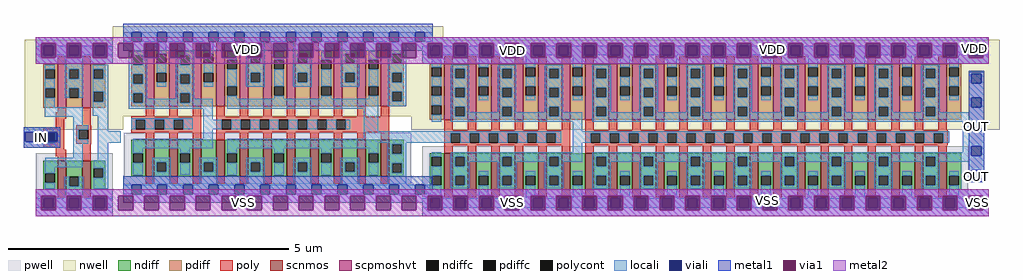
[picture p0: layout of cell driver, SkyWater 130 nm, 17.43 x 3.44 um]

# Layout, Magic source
magic
tech sky130A
magscale 1 2
<< locali >>
rect 0 300 64 319
rect 0 266 7 300
rect 41 266 64 300
rect 0 245 64 266
rect 302 263 347 303
rect 1228 263 1440 303
<< viali >>
rect 3385 476 3419 510
rect 3385 390 3419 424
rect 3385 303 3419 337
rect 7 266 41 300
rect 86 266 120 300
rect 3385 216 3419 250
rect 3385 130 3419 164
<< metal1 >>
rect 3375 510 3430 516
rect 3375 476 3385 510
rect 3419 476 3430 510
rect 3375 424 3430 476
rect 3375 390 3385 424
rect 3419 390 3430 424
rect 3375 337 3430 390
rect 0 300 132 319
rect 0 266 7 300
rect 41 266 86 300
rect 120 266 132 300
rect 0 245 132 266
rect 3375 303 3385 337
rect 3419 303 3430 337
rect 3375 250 3430 303
rect 3375 216 3385 250
rect 3419 216 3430 250
rect 3375 164 3430 216
rect 3375 130 3385 164
rect 3419 130 3430 164
rect 3375 124 3430 130
<< via1 >>
rect 63 566 115 618
rect 155 566 207 618
rect 247 566 299 618
rect 339 566 391 618
rect 431 566 483 618
rect 523 566 575 618
rect 615 566 667 618
rect 707 566 759 618
rect 799 566 851 618
rect 891 566 943 618
rect 983 566 1035 618
rect 1075 566 1127 618
rect 1167 566 1219 618
rect 1259 566 1311 618
rect 1351 566 1403 618
rect 1443 566 1495 618
rect 1535 566 1587 618
rect 1627 566 1679 618
rect 1719 566 1771 618
rect 1811 566 1863 618
rect 1903 566 1955 618
rect 1995 566 2047 618
rect 2087 566 2139 618
rect 2179 566 2231 618
rect 2271 566 2323 618
rect 2363 566 2415 618
rect 2455 566 2507 618
rect 2547 566 2599 618
rect 2639 566 2691 618
rect 2731 566 2783 618
rect 2823 566 2875 618
rect 2915 566 2967 618
rect 3007 566 3059 618
rect 3099 566 3151 618
rect 3191 566 3243 618
rect 3283 566 3335 618
rect 3375 566 3427 618
rect 63 22 115 74
rect 155 22 207 74
rect 247 22 299 74
rect 339 22 391 74
rect 431 22 483 74
rect 523 22 575 74
rect 615 22 667 74
rect 707 22 759 74
rect 799 22 851 74
rect 891 22 943 74
rect 983 22 1035 74
rect 1075 22 1127 74
rect 1167 22 1219 74
rect 1259 22 1311 74
rect 1351 22 1403 74
rect 1443 22 1495 74
rect 1535 22 1587 74
rect 1627 22 1679 74
rect 1719 22 1771 74
rect 1811 22 1863 74
rect 1903 22 1955 74
rect 1995 22 2047 74
rect 2087 22 2139 74
rect 2179 22 2231 74
rect 2271 22 2323 74
rect 2363 22 2415 74
rect 2455 22 2507 74
rect 2547 22 2599 74
rect 2639 22 2691 74
rect 2731 22 2783 74
rect 2823 22 2875 74
rect 2915 22 2967 74
rect 3007 22 3059 74
rect 3099 22 3151 74
rect 3191 22 3243 74
rect 3283 22 3335 74
rect 3375 22 3427 74
<< metal2 >>
rect 43 618 3447 640
rect 43 566 63 618
rect 115 566 155 618
rect 207 566 247 618
rect 299 566 339 618
rect 391 566 431 618
rect 483 566 523 618
rect 575 566 615 618
rect 667 566 707 618
rect 759 566 799 618
rect 851 566 891 618
rect 943 566 983 618
rect 1035 566 1075 618
rect 1127 566 1167 618
rect 1219 566 1259 618
rect 1311 566 1351 618
rect 1403 566 1443 618
rect 1495 566 1535 618
rect 1587 566 1627 618
rect 1679 566 1719 618
rect 1771 566 1811 618
rect 1863 566 1903 618
rect 1955 566 1995 618
rect 2047 566 2087 618
rect 2139 566 2179 618
rect 2231 566 2271 618
rect 2323 566 2363 618
rect 2415 566 2455 618
rect 2507 566 2547 618
rect 2599 566 2639 618
rect 2691 566 2731 618
rect 2783 566 2823 618
rect 2875 566 2915 618
rect 2967 566 3007 618
rect 3059 566 3099 618
rect 3151 566 3191 618
rect 3243 566 3283 618
rect 3335 566 3375 618
rect 3427 566 3447 618
rect 43 544 3447 566
rect 43 74 3447 96
rect 43 22 63 74
rect 115 22 155 74
rect 207 22 247 74
rect 299 22 339 74
rect 391 22 431 74
rect 483 22 523 74
rect 575 22 615 74
rect 667 22 707 74
rect 759 22 799 74
rect 851 22 891 74
rect 943 22 983 74
rect 1035 22 1075 74
rect 1127 22 1167 74
rect 1219 22 1259 74
rect 1311 22 1351 74
rect 1403 22 1443 74
rect 1495 22 1535 74
rect 1587 22 1627 74
rect 1679 22 1719 74
rect 1771 22 1811 74
rect 1863 22 1903 74
rect 1955 22 1995 74
rect 2047 22 2087 74
rect 2139 22 2179 74
rect 2231 22 2271 74
rect 2323 22 2363 74
rect 2415 22 2455 74
rect 2507 22 2547 74
rect 2599 22 2639 74
rect 2691 22 2731 74
rect 2783 22 2823 74
rect 2875 22 2915 74
rect 2967 22 3007 74
rect 3059 22 3099 74
rect 3151 22 3191 74
rect 3243 22 3283 74
rect 3335 22 3375 74
rect 3427 22 3447 74
rect 43 0 3447 22
use sky130_fd_sc_hd__buf_1  sky130_fd_sc_hd__buf_1_0
transform 1 0 43 0 1 48
box -38 -48 314 592
use sky130_fd_sc_hd__buf_8  sky130_fd_sc_hd__buf_8_0
transform 1 0 319 0 1 48
box -38 -48 1142 592
use sky130_fd_sc_hd__buf_16  sky130_fd_sc_hd__buf_16_0
transform 1 0 1423 0 1 48
box -38 -48 2062 592
<< labels >>
flabel metal1 s 0 245 132 319 0 FreeSans 224 0 0 0 IN
port 2 nsew
flabel metal1 s 3375 126 3430 515 0 FreeSans 44 0 0 0 OUT
port 3 nsew
flabel metal1 s 3402 142 3402 142 0 FreeSans 44 0 0 0 OUT
flabel metal1 s 3403 320 3403 320 0 FreeSans 44 0 0 0 OUT
flabel metal2 s 43 0 3447 96 0 FreeSans 44 0 0 0 VSS
port 5 nsew
flabel metal2 s 3408 50 3408 50 0 FreeSans 44 0 0 0 VSS
flabel metal2 s 1734 53 1734 53 0 FreeSans 44 0 0 0 VSS
flabel metal2 s 787 50 787 50 0 FreeSans 44 0 0 0 VSS
flabel metal2 s 2655 57 2655 57 0 FreeSans 44 0 0 0 VSS
flabel metal2 s 43 544 3447 640 0 FreeSans 44 0 0 0 VDD
port 6 nsew
flabel metal2 s 3395 598 3395 598 0 FreeSans 44 0 0 0 VDD
flabel metal2 s 1732 596 1732 596 0 FreeSans 44 0 0 0 VDD
flabel metal2 s 796 594 796 594 0 FreeSans 44 0 0 0 VDD
flabel metal2 s 2675 596 2675 596 0 FreeSans 44 0 0 0 VDD
<< end >>

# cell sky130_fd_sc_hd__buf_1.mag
magic
tech sky130A
magscale 1 2
<< nwell >>
rect -38 261 314 582
<< pwell >>
rect 1 21 275 177
rect 31 -17 65 21
<< scnmos >>
rect 79 47 109 151
rect 167 47 197 151
<< scpmoshvt >>
rect 79 339 109 497
rect 167 339 197 497
<< ndiff >>
rect 27 106 79 151
rect 27 72 35 106
rect 69 72 79 106
rect 27 47 79 72
rect 109 93 167 151
rect 109 59 121 93
rect 155 59 167 93
rect 109 47 167 59
rect 197 123 249 151
rect 197 89 207 123
rect 241 89 249 123
rect 197 47 249 89
<< pdiff >>
rect 27 477 79 497
rect 27 443 35 477
rect 69 443 79 477
rect 27 409 79 443
rect 27 375 35 409
rect 69 375 79 409
rect 27 339 79 375
rect 109 477 167 497
rect 109 443 121 477
rect 155 443 167 477
rect 109 409 167 443
rect 109 375 121 409
rect 155 375 167 409
rect 109 339 167 375
rect 197 477 249 497
rect 197 443 207 477
rect 241 443 249 477
rect 197 396 249 443
rect 197 362 207 396
rect 241 362 249 396
rect 197 339 249 362
<< ndiffc >>
rect 35 72 69 106
rect 121 59 155 93
rect 207 89 241 123
<< pdiffc >>
rect 35 443 69 477
rect 35 375 69 409
rect 121 443 155 477
rect 121 375 155 409
rect 207 443 241 477
rect 207 362 241 396
<< poly >>
rect 79 497 109 523
rect 167 497 197 523
rect 79 324 109 339
rect 73 300 109 324
rect 73 265 103 300
rect 167 278 197 339
rect 27 249 103 265
rect 27 215 37 249
rect 71 215 103 249
rect 27 199 103 215
rect 145 262 199 278
rect 145 228 155 262
rect 189 228 199 262
rect 145 212 199 228
rect 73 190 103 199
rect 73 166 109 190
rect 79 151 109 166
rect 167 151 197 212
rect 79 21 109 47
rect 167 21 197 47
<< polycont >>
rect 37 215 71 249
rect 155 228 189 262
<< locali >>
rect 0 527 29 561
rect 63 527 121 561
rect 155 527 213 561
rect 247 527 276 561
rect 33 477 69 493
rect 33 443 35 477
rect 33 409 69 443
rect 33 375 35 409
rect 105 477 171 527
rect 105 443 121 477
rect 155 443 171 477
rect 105 409 171 443
rect 105 375 121 409
rect 155 375 171 409
rect 205 477 259 493
rect 205 443 207 477
rect 241 443 259 477
rect 205 396 259 443
rect 33 341 69 375
rect 205 362 207 396
rect 241 362 259 396
rect 33 307 168 341
rect 205 312 259 362
rect 134 278 168 307
rect 21 249 89 271
rect 21 215 37 249
rect 71 215 89 249
rect 21 197 89 215
rect 134 262 189 278
rect 134 228 155 262
rect 134 212 189 228
rect 134 161 168 212
rect 35 127 168 161
rect 223 152 259 312
rect 35 106 69 127
rect 207 123 259 152
rect 35 51 69 72
rect 105 59 121 93
rect 155 59 171 93
rect 105 17 171 59
rect 241 89 259 123
rect 207 51 259 89
rect 0 -17 29 17
rect 63 -17 121 17
rect 155 -17 213 17
rect 247 -17 276 17
<< viali >>
rect 29 527 63 561
rect 121 527 155 561
rect 213 527 247 561
rect 29 -17 63 17
rect 121 -17 155 17
rect 213 -17 247 17
<< metal1 >>
rect 0 561 276 592
rect 0 527 29 561
rect 63 527 121 561
rect 155 527 213 561
rect 247 527 276 561
rect 0 496 276 527
rect 0 17 276 48
rect 0 -17 29 17
rect 63 -17 121 17
rect 155 -17 213 17
rect 247 -17 276 17
rect 0 -48 276 -17
<< labels >>
flabel locali s 29 527 63 561 0 FreeSans 200 0 0 0 VPWR
port 5 nsew
flabel locali s 31 -17 65 17 0 FreeSans 200 0 0 0 VGND
port 4 nsew
flabel locali s 211 85 245 119 0 FreeSans 200 0 0 0 X
port 6 nsew
flabel locali s 211 357 245 391 0 FreeSans 200 0 0 0 X
port 6 nsew
flabel locali s 211 425 245 459 0 FreeSans 200 0 0 0 X
port 6 nsew
flabel locali s 29 221 63 255 0 FreeSans 200 0 0 0 A
port 7 nsew
flabel pwell s 31 -17 65 17 0 FreeSans 200 0 0 0 VNB
port 2 nsew
flabel nwell s 29 527 63 561 0 FreeSans 200 0 0 0 VPB
port 3 nsew
flabel metal1 s 31 -17 65 17 0 FreeSans 200 0 0 0 VGND
port 4 nsew
flabel metal1 s 29 527 63 561 0 FreeSans 200 0 0 0 VPWR
port 5 nsew
rlabel comment s 0 0 0 0 4 buf_1
<< properties >>
string FIXED_BBOX 0 0 276 544
string path 0.000 2.720 1.380 2.720 
<< end >>

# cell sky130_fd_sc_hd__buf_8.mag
magic
tech sky130A
magscale 1 2
<< nwell >>
rect 0 309 1180 630
<< pwell >>
rect 39 69 1065 251
rect 68 31 102 69
<< scnmos >>
rect 117 95 147 225
rect 201 95 231 225
rect 285 95 315 225
rect 369 95 399 225
rect 453 95 483 225
rect 537 95 567 225
rect 621 95 651 225
rect 705 95 735 225
rect 789 95 819 225
rect 873 95 903 225
rect 957 95 987 225
<< scpmoshvt >>
rect 117 345 147 545
rect 201 345 231 545
rect 285 345 315 545
rect 369 345 399 545
rect 453 345 483 545
rect 537 345 567 545
rect 621 345 651 545
rect 705 345 735 545
rect 789 345 819 545
rect 873 345 903 545
rect 957 345 987 545
<< ndiff >>
rect 65 177 117 225
rect 65 143 73 177
rect 107 143 117 177
rect 65 95 117 143
rect 147 145 201 225
rect 147 111 157 145
rect 191 111 201 145
rect 147 95 201 111
rect 231 177 285 225
rect 231 143 241 177
rect 275 143 285 177
rect 231 95 285 143
rect 315 145 369 225
rect 315 111 325 145
rect 359 111 369 145
rect 315 95 369 111
rect 399 177 453 225
rect 399 143 409 177
rect 443 143 453 177
rect 399 95 453 143
rect 483 145 537 225
rect 483 111 493 145
rect 527 111 537 145
rect 483 95 537 111
rect 567 177 621 225
rect 567 143 577 177
rect 611 143 621 177
rect 567 95 621 143
rect 651 145 705 225
rect 651 111 661 145
rect 695 111 705 145
rect 651 95 705 111
rect 735 177 789 225
rect 735 143 745 177
rect 779 143 789 177
rect 735 95 789 143
rect 819 145 873 225
rect 819 111 829 145
rect 863 111 873 145
rect 819 95 873 111
rect 903 177 957 225
rect 903 143 913 177
rect 947 143 957 177
rect 903 95 957 143
rect 987 209 1039 225
rect 987 175 997 209
rect 1031 175 1039 209
rect 987 141 1039 175
rect 987 107 997 141
rect 1031 107 1039 141
rect 987 95 1039 107
<< pdiff >>
rect 65 527 117 545
rect 65 493 73 527
rect 107 493 117 527
rect 65 459 117 493
rect 65 425 73 459
rect 107 425 117 459
rect 65 391 117 425
rect 65 357 73 391
rect 107 357 117 391
rect 65 345 117 357
rect 147 533 201 545
rect 147 499 157 533
rect 191 499 201 533
rect 147 465 201 499
rect 147 431 157 465
rect 191 431 201 465
rect 147 345 201 431
rect 231 527 285 545
rect 231 493 241 527
rect 275 493 285 527
rect 231 459 285 493
rect 231 425 241 459
rect 275 425 285 459
rect 231 391 285 425
rect 231 357 241 391
rect 275 357 285 391
rect 231 345 285 357
rect 315 533 369 545
rect 315 499 325 533
rect 359 499 369 533
rect 315 465 369 499
rect 315 431 325 465
rect 359 431 369 465
rect 315 345 369 431
rect 399 511 453 545
rect 399 477 409 511
rect 443 477 453 511
rect 399 416 453 477
rect 399 382 409 416
rect 443 382 453 416
rect 399 345 453 382
rect 483 533 537 545
rect 483 499 493 533
rect 527 499 537 533
rect 483 465 537 499
rect 483 431 493 465
rect 527 431 537 465
rect 483 345 537 431
rect 567 511 621 545
rect 567 477 577 511
rect 611 477 621 511
rect 567 416 621 477
rect 567 382 577 416
rect 611 382 621 416
rect 567 345 621 382
rect 651 533 705 545
rect 651 499 661 533
rect 695 499 705 533
rect 651 465 705 499
rect 651 431 661 465
rect 695 431 705 465
rect 651 345 705 431
rect 735 511 789 545
rect 735 477 745 511
rect 779 477 789 511
rect 735 416 789 477
rect 735 382 745 416
rect 779 382 789 416
rect 735 345 789 382
rect 819 533 873 545
rect 819 499 829 533
rect 863 499 873 533
rect 819 465 873 499
rect 819 431 829 465
rect 863 431 873 465
rect 819 345 873 431
rect 903 511 957 545
rect 903 477 913 511
rect 947 477 957 511
rect 903 416 957 477
rect 903 382 913 416
rect 947 382 957 416
rect 903 345 957 382
rect 987 533 1039 545
rect 987 499 997 533
rect 1031 499 1039 533
rect 987 465 1039 499
rect 987 431 997 465
rect 1031 431 1039 465
rect 987 397 1039 431
rect 987 363 997 397
rect 1031 363 1039 397
rect 987 345 1039 363
<< ndiffc >>
rect 73 143 107 177
rect 157 111 191 145
rect 241 143 275 177
rect 325 111 359 145
rect 409 143 443 177
rect 493 111 527 145
rect 577 143 611 177
rect 661 111 695 145
rect 745 143 779 177
rect 829 111 863 145
rect 913 143 947 177
rect 997 175 1031 209
rect 997 107 1031 141
<< pdiffc >>
rect 73 493 107 527
rect 73 425 107 459
rect 73 357 107 391
rect 157 499 191 533
rect 157 431 191 465
rect 241 493 275 527
rect 241 425 275 459
rect 241 357 275 391
rect 325 499 359 533
rect 325 431 359 465
rect 409 477 443 511
rect 409 382 443 416
rect 493 499 527 533
rect 493 431 527 465
rect 577 477 611 511
rect 577 382 611 416
rect 661 499 695 533
rect 661 431 695 465
rect 745 477 779 511
rect 745 382 779 416
rect 829 499 863 533
rect 829 431 863 465
rect 913 477 947 511
rect 913 382 947 416
rect 997 499 1031 533
rect 997 431 1031 465
rect 997 363 1031 397
<< poly >>
rect 117 545 147 571
rect 201 545 231 571
rect 285 545 315 571
rect 369 545 399 571
rect 453 545 483 571
rect 537 545 567 571
rect 621 545 651 571
rect 705 545 735 571
rect 789 545 819 571
rect 873 545 903 571
rect 957 545 987 571
rect 117 309 147 345
rect 66 307 147 309
rect 201 307 231 345
rect 285 307 315 345
rect 66 297 315 307
rect 66 263 82 297
rect 116 263 150 297
rect 184 263 218 297
rect 252 263 315 297
rect 66 253 315 263
rect 66 251 147 253
rect 117 225 147 251
rect 201 225 231 253
rect 285 225 315 253
rect 369 307 399 345
rect 453 307 483 345
rect 537 307 567 345
rect 621 307 651 345
rect 705 307 735 345
rect 789 307 819 345
rect 873 307 903 345
rect 957 307 987 345
rect 369 297 987 307
rect 369 263 389 297
rect 423 263 457 297
rect 491 263 525 297
rect 559 263 593 297
rect 627 263 661 297
rect 695 263 729 297
rect 763 263 797 297
rect 831 263 987 297
rect 369 253 987 263
rect 369 225 399 253
rect 453 225 483 253
rect 537 225 567 253
rect 621 225 651 253
rect 705 225 735 253
rect 789 225 819 253
rect 873 225 903 253
rect 957 225 987 253
rect 117 69 147 95
rect 201 69 231 95
rect 285 69 315 95
rect 369 69 399 95
rect 453 69 483 95
rect 537 69 567 95
rect 621 69 651 95
rect 705 69 735 95
rect 789 69 819 95
rect 873 69 903 95
rect 957 69 987 95
<< polycont >>
rect 82 263 116 297
rect 150 263 184 297
rect 218 263 252 297
rect 389 263 423 297
rect 457 263 491 297
rect 525 263 559 297
rect 593 263 627 297
rect 661 263 695 297
rect 729 263 763 297
rect 797 263 831 297
<< locali >>
rect 38 575 67 609
rect 101 575 159 609
rect 193 575 251 609
rect 285 575 343 609
rect 377 575 435 609
rect 469 575 527 609
rect 561 575 619 609
rect 653 575 711 609
rect 745 575 803 609
rect 837 575 895 609
rect 929 575 987 609
rect 1021 575 1079 609
rect 1113 575 1142 609
rect 57 527 123 541
rect 57 493 73 527
rect 107 493 123 527
rect 57 459 123 493
rect 57 425 73 459
rect 107 425 123 459
rect 57 391 123 425
rect 157 533 191 575
rect 157 465 191 499
rect 157 415 191 431
rect 225 527 291 541
rect 225 493 241 527
rect 275 493 291 527
rect 225 459 291 493
rect 225 425 241 459
rect 275 425 291 459
rect 57 357 73 391
rect 107 371 123 391
rect 225 391 291 425
rect 325 533 359 575
rect 325 465 359 499
rect 325 415 359 431
rect 409 511 443 541
rect 409 416 443 477
rect 225 371 241 391
rect 107 357 241 371
rect 275 371 291 391
rect 477 533 543 575
rect 477 499 493 533
rect 527 499 543 533
rect 477 465 543 499
rect 477 431 493 465
rect 527 431 543 465
rect 477 415 543 431
rect 577 511 611 541
rect 577 416 611 477
rect 409 371 443 382
rect 645 533 711 575
rect 645 499 661 533
rect 695 499 711 533
rect 645 465 711 499
rect 645 431 661 465
rect 695 431 711 465
rect 645 415 711 431
rect 745 511 779 541
rect 745 416 779 477
rect 577 371 611 382
rect 813 533 879 575
rect 813 499 829 533
rect 863 499 879 533
rect 813 465 879 499
rect 813 431 829 465
rect 863 431 879 465
rect 813 415 879 431
rect 913 511 947 541
rect 913 416 947 477
rect 745 371 779 382
rect 913 371 947 382
rect 275 357 357 371
rect 57 337 357 357
rect 409 337 947 371
rect 981 533 1047 575
rect 981 499 997 533
rect 1031 499 1047 533
rect 981 465 1047 499
rect 981 431 997 465
rect 1031 431 1047 465
rect 981 397 1047 431
rect 981 363 997 397
rect 1031 363 1047 397
rect 981 345 1047 363
rect 66 297 286 303
rect 66 263 82 297
rect 116 263 150 297
rect 184 263 218 297
rect 252 263 286 297
rect 322 297 357 337
rect 322 263 389 297
rect 423 263 457 297
rect 491 263 525 297
rect 559 263 593 297
rect 627 263 661 297
rect 695 263 729 297
rect 763 263 797 297
rect 831 263 847 297
rect 322 229 357 263
rect 896 229 947 337
rect 73 195 357 229
rect 409 195 947 229
rect 73 177 107 195
rect 241 177 275 195
rect 73 99 107 143
rect 141 145 207 161
rect 141 111 157 145
rect 191 111 207 145
rect 141 65 207 111
rect 409 177 443 195
rect 241 100 275 143
rect 309 145 375 161
rect 309 111 325 145
rect 359 111 375 145
rect 309 65 375 111
rect 577 177 611 195
rect 409 99 443 143
rect 477 145 543 161
rect 477 111 493 145
rect 527 111 543 145
rect 477 65 543 111
rect 745 177 779 195
rect 577 99 611 143
rect 645 145 711 161
rect 645 111 661 145
rect 695 111 711 145
rect 645 65 711 111
rect 913 177 947 195
rect 745 99 779 143
rect 813 145 879 161
rect 813 111 829 145
rect 863 111 879 145
rect 813 65 879 111
rect 913 99 947 143
rect 981 209 1047 225
rect 981 175 997 209
rect 1031 175 1047 209
rect 981 141 1047 175
rect 981 107 997 141
rect 1031 107 1047 141
rect 981 65 1047 107
rect 38 31 67 65
rect 101 31 159 65
rect 193 31 251 65
rect 285 31 343 65
rect 377 31 435 65
rect 469 31 527 65
rect 561 31 619 65
rect 653 31 711 65
rect 745 31 803 65
rect 837 31 895 65
rect 929 31 987 65
rect 1021 31 1079 65
rect 1113 31 1142 65
<< viali >>
rect 67 575 101 609
rect 159 575 193 609
rect 251 575 285 609
rect 343 575 377 609
rect 435 575 469 609
rect 527 575 561 609
rect 619 575 653 609
rect 711 575 745 609
rect 803 575 837 609
rect 895 575 929 609
rect 987 575 1021 609
rect 1079 575 1113 609
rect 67 31 101 65
rect 159 31 193 65
rect 251 31 285 65
rect 343 31 377 65
rect 435 31 469 65
rect 527 31 561 65
rect 619 31 653 65
rect 711 31 745 65
rect 803 31 837 65
rect 895 31 929 65
rect 987 31 1021 65
rect 1079 31 1113 65
<< metal1 >>
rect 38 609 1142 640
rect 38 575 67 609
rect 101 575 159 609
rect 193 575 251 609
rect 285 575 343 609
rect 377 575 435 609
rect 469 575 527 609
rect 561 575 619 609
rect 653 575 711 609
rect 745 575 803 609
rect 837 575 895 609
rect 929 575 987 609
rect 1021 575 1079 609
rect 1113 575 1142 609
rect 38 544 1142 575
rect 38 65 1142 96
rect 38 31 67 65
rect 101 31 159 65
rect 193 31 251 65
rect 285 31 343 65
rect 377 31 435 65
rect 469 31 527 65
rect 561 31 619 65
rect 653 31 711 65
rect 745 31 803 65
rect 837 31 895 65
rect 929 31 987 65
rect 1021 31 1079 65
rect 1113 31 1142 65
rect 38 0 1142 31
<< labels >>
flabel locali s 252 269 286 303 0 FreeSans 200 0 0 0 A
port 6 nsew
flabel locali s 896 201 930 235 0 FreeSans 200 0 0 0 X
port 7 nsew
flabel locali s 896 269 930 303 0 FreeSans 200 0 0 0 X
port 7 nsew
flabel locali s 160 269 194 303 0 FreeSans 200 0 0 0 A
port 6 nsew
flabel locali s 68 31 102 65 0 FreeSans 200 0 0 0 VGND
port 4 nsew
flabel locali s 68 575 102 609 0 FreeSans 200 0 0 0 VPWR
port 5 nsew
flabel locali s 896 337 930 371 0 FreeSans 200 0 0 0 X
port 7 nsew
flabel locali s 68 269 102 303 0 FreeSans 200 0 0 0 A
port 6 nsew
flabel pwell s 68 31 102 65 0 FreeSans 200 0 0 0 VNB
port 2 nsew
flabel nwell s 68 575 102 609 0 FreeSans 200 0 0 0 VPB
port 3 nsew
flabel metal1 s 68 31 102 65 0 FreeSans 200 0 0 0 VGND
port 4 nsew
flabel metal1 s 68 575 102 609 0 FreeSans 200 0 0 0 VPWR
port 5 nsew
rlabel comment s 38 48 38 48 4 buf_8
<< properties >>
string FIXED_BBOX 38 48 1142 592
string path 0.190 0.240 5.710 0.240 
<< end >>

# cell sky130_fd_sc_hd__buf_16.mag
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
